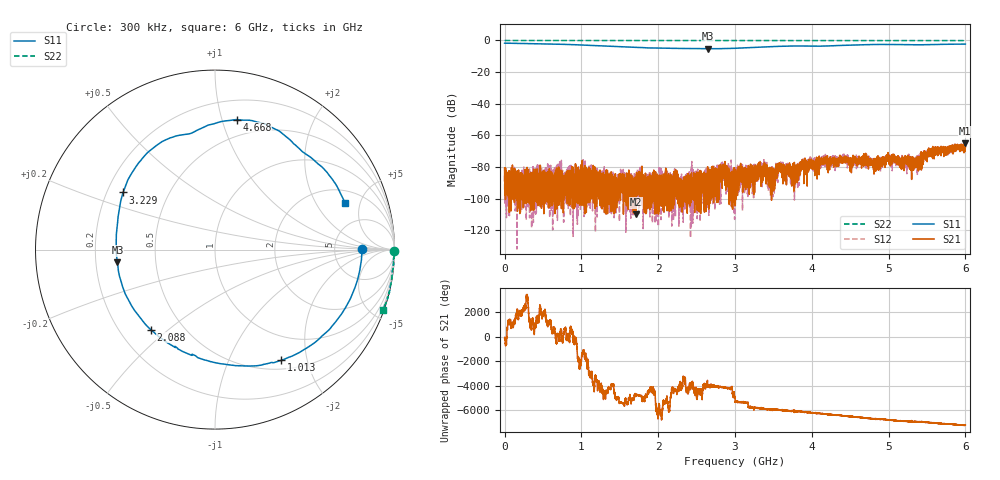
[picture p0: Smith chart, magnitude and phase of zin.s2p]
!  8/10/2020  01:59:51
! Ref Plane: 0.000 mm
# MHZ S MA R  50
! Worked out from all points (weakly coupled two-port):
!   10001 points, 300 kHz to 6 GHz, reference 50 ohm
!   highest |S21| = -64.87 dB at 5.994 GHz (marker M1); lowest = -109.9 dB at 1.707 GHz (marker M2)
!   lowest |S11| = -5.2 dB at 2.643 GHz (marker M3), VSWR 3.42, Z = 14.7 - j2.96 ohm
!   |S11| at or under -10 dB: nowhere
!   |S22| runs from -0.1 to 0.0 dB; largest |S21 - S12| = 0.00025
!   S11 on the Smith chart (normalised r, x): 300 kHz: 10, +0; 1.013 GHz: 0.62, -1.59; 2.088 GHz: 0.33, -0.44; 3.229 GHz: 0.27, +0.27; 4.668 GHz: 0.35, +1.12; 6 GHz: 2.89, +3.62
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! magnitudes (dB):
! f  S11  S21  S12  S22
! 300 kHz  -1.7  -88.6  -94.2  0.0
! 1 GHz  -2.8  -80.5  -96.4  0.0
! 1.013 GHz  -2.9  -82.9  -85.7  0.0
! 1.707 GHz  -4.5  -109.9  -87.1  0.0
! 2.001 GHz  -4.8  -91.8  -99.4  0.0
! 2.088 GHz  -4.9  -91.7  -95.2  0.0
! 2.643 GHz  -5.2  -89.5  -90.2  0.0
! 3 GHz  -4.9  -82.1  -88.9  0.0
! 3.229 GHz  -4.4  -85.7  -82.1  0.0
! 3.792 GHz  -3.5  -85.4  -84.9  0.0
! 4 GHz  -3.6  -78.5  -75.2  0.0
! 4.169 GHz  -3.5  -74.9  -73.0  0.0
! 4.235 GHz  -3.4  -76.6  -75.3  0.0
! 4.391 GHz  -3.1  -74.7  -75.2  0.0
! 4.668 GHz  -2.7  -75.9  -73.4  0.0
! 4.826 GHz  -2.5  -75.6  -78.9  0.0
! 5 GHz  -2.5  -73.3  -74.1  0.0
! 5.322 GHz  -2.7  -77.5  -78.4  0.0
! 5.402 GHz  -2.7  -74.2  -72.8  0.0
! 5.54 GHz  -2.6  -69.3  -70.8  0.0
! 5.994 GHz  -2.3  -64.9  -68.6  -0.1
! 6 GHz  -2.3  -67.4  -66.2  -0.1
